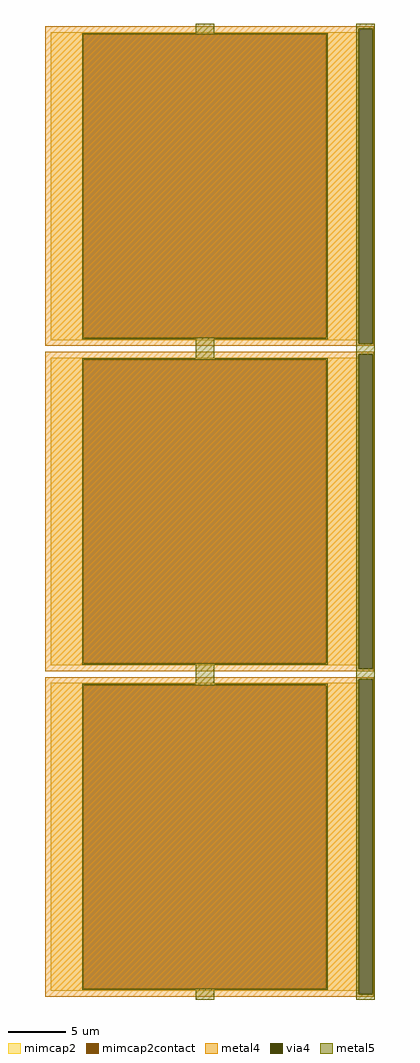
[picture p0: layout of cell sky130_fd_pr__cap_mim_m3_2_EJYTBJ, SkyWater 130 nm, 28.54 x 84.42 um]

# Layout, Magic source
magic
tech sky130A
magscale 1 2
<< metal4 >>
rect -2843 8351 2843 8392
rect -2843 2905 2587 8351
rect 2823 2905 2843 8351
rect -2843 2864 2843 2905
rect -2843 2723 2843 2764
rect -2843 -2723 2587 2723
rect 2823 -2723 2843 2723
rect -2843 -2764 2843 -2723
rect -2843 -2905 2843 -2864
rect -2843 -8351 2587 -2905
rect 2823 -8351 2843 -2905
rect -2843 -8392 2843 -8351
<< via4 >>
rect 2587 2905 2823 8351
rect 2587 -2723 2823 2723
rect 2587 -8351 2823 -2905
<< mimcap2 >>
rect -2743 8252 2585 8292
rect -2743 3004 -2178 8252
rect 2020 3004 2585 8252
rect -2743 2964 2585 3004
rect -2743 2624 2585 2664
rect -2743 -2624 -2178 2624
rect 2020 -2624 2585 2624
rect -2743 -2664 2585 -2624
rect -2743 -3004 2585 -2964
rect -2743 -8252 -2178 -3004
rect 2020 -8252 2585 -3004
rect -2743 -8292 2585 -8252
<< mimcap2contact >>
rect -2178 3004 2020 8252
rect -2178 -2624 2020 2624
rect -2178 -8252 2020 -3004
<< metal5 >>
rect -239 8276 81 8442
rect 2545 8351 2865 8442
rect -2202 8252 2044 8276
rect -2202 3004 -2178 8252
rect 2020 3004 2044 8252
rect -2202 2980 2044 3004
rect -239 2648 81 2980
rect 2545 2905 2587 8351
rect 2823 2905 2865 8351
rect 2545 2723 2865 2905
rect -2202 2624 2044 2648
rect -2202 -2624 -2178 2624
rect 2020 -2624 2044 2624
rect -2202 -2648 2044 -2624
rect -239 -2980 81 -2648
rect 2545 -2723 2587 2723
rect 2823 -2723 2865 2723
rect 2545 -2905 2865 -2723
rect -2202 -3004 2044 -2980
rect -2202 -8252 -2178 -3004
rect 2020 -8252 2044 -3004
rect -2202 -8276 2044 -8252
rect -239 -8442 81 -8276
rect 2545 -8351 2587 -2905
rect 2823 -8351 2865 -2905
rect 2545 -8442 2865 -8351
<< properties >>
string FIXED_BBOX -2843 2864 2685 8392
string gencell sky130_fd_pr__cap_mim_m3_2
string library sky130
string parameters w 26.643 l 26.643 val 1.439k carea 2.00 cperi 0.19 nx 1 ny 3 dummy 0 square 0 lmin 2.00 wmin 2.00 lmax 30.0 wmax 30.0 dc 0 bconnect 1 tconnect 1 ccov 80
<< end >>
